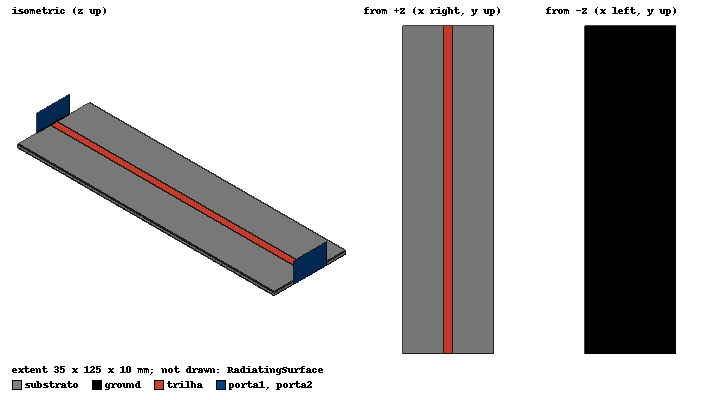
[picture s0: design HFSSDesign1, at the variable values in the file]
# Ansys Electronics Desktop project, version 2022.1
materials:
  vacuum: permittivity=1
  FR4_epoxy: permittivity=4.4 dielectric_loss_tangent=0.02
  pec: conductivity=1e+30
  perfect conductor: conductivity=1e+30

design HFSSDesign1 (HFSS, DrivenTerminal, model units mm)
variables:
  w_sub = 35mm
  L = 125mm
  h = 1.6mm
  wt = 3.11mm
  th = 35um
  w_port = 16mm
  h_port = 10
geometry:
  substrato [FR4_epoxy] = box(corner=(0mm, 0mm, 0mm), size=(w_sub, L, h))
  coordinate_system RelativeCS1 = origin=((w_sub/2) - (wt/2), 0mm, h) Euler Angle ZYZ phi=0deg theta=0deg psi=0deg
  trilha [pec] = box(corner=(0mm, 0mm, 0mm), size=(wt, L, th)) in RelativeCS1
  coordinate_system RelativeCS2 = origin=((wt/2), 0mm, -h) Euler Angle ZYZ phi=0deg theta=0deg psi=0deg in RelativeCS1
  coordinate_system RelativeCS3 = origin=(-w_sub/2, 0mm, 0mm) Euler Angle ZYZ phi=0deg theta=0deg psi=0deg in RelativeCS2
  ground [perfect conductor] = box(corner=(0mm, 0mm, 0mm), size=(w_sub, L, th)) in RelativeCS3
  coordinate_system RelativeCS4 = origin=(w_sub/2, 0mm, 0mm) Euler Angle ZYZ phi=0deg theta=0deg psi=0deg
  coordinate_system RelativeCS5 = origin=(w_sub/2, 0mm, 0mm) Euler Angle ZYZ phi=0deg theta=0deg psi=0deg
  coordinate_system RelativeCS6 = origin=(-w_port/2, 0mm, 0mm) Euler Angle ZYZ phi=0deg theta=0deg psi=0deg in RelativeCS5
  porta1 = rectangle(corner=(0mm, 0mm, 0mm), z_size=10mm, x_size=16mm) in RelativeCS6
  porta2 = porta1.duplicate_along_line(step=(0mm, L, 0mm), total=2) in RelativeCS6
  RadiatingSurface [vacuum] = region(absolute_offset: +X=50mm, -X=50mm, +Y=0mm, -Y=0mm, +Z=50mm, -Z=50mm) in RelativeCS6
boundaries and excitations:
  Open1: Radiation Objects=RadiatingSurface
  trilha_T1: Terminal port=1 Faces=trilha.face(3 of 6) TerminalResistance=50ohm
  trilha_T3: Terminal port=2 Faces=trilha.face(5 of 6) TerminalResistance=50ohm
  1: Wave Port Faces=porta1.face(at (17.5, 0, 5)) NumModes=1
  2: Wave Port Faces=porta2.face NumModes=1
  reference conductors: ground
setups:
  Setup1: HfssDrivenAuto AutoSolverSetting=Balanced Type=Interpolating
    sweep Sweep: 1GHz to 3GHz step 0.01GHz;
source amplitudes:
  1:1: 1V 0deg
  2:1: 0V 0deg
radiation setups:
  3D: Infinite Sphere Theta=0deg..180deg step 2deg Phi=-180deg..180deg step 2deg CoordSystem=RelativeCS6
  Elevation: Infinite Sphere Theta=-180deg..180deg step 1deg Phi=0deg..90deg step 90deg CoordSystem=RelativeCS6
  Azimuth: Infinite Sphere Theta=90deg..90deg step 0deg Phi=-180deg..180deg step 1deg CoordSystem=RelativeCS6
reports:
  Terminal S Parameter Plot 1: dB(St(trilha_T1,trilha_T1)), dB(St(trilha_T3,trilha_T1)), dB(St(trilha_T1,trilha_T3)), dB(St(trilha_T3,trilha_T3)) vs Freq on Setup1 : Sweep
